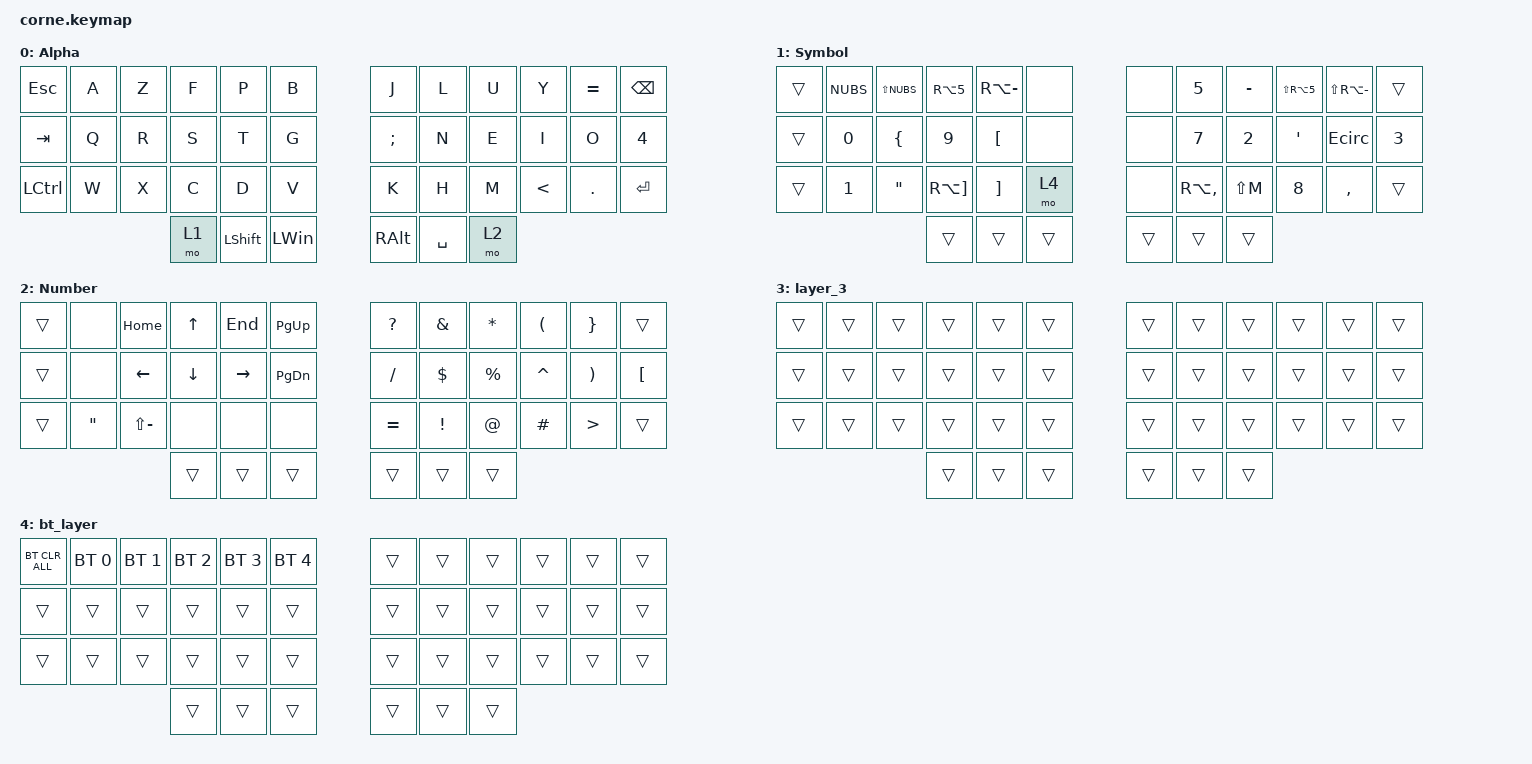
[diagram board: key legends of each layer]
/*
 * Copyright (c) 2020 The ZMK Contributors
 *
 * SPDX-License-Identifier: MIT
 */

#include <behaviors.dtsi>
#include <dt-bindings/zmk/bt.h>
#include <dt-bindings/zmk/keys.h>

/ {
    macros {
        Ecirc: Ecirc {
            compatible = "zmk,behavior-macro";
            #binding-cells = <0>;
            bindings = <&kp LEFT_BRACKET &kp E>;
            label = "ECIRC";
        };
    };

    keymap {
        compatible = "zmk,keymap";

        alpha_layer {
            // -----------------------------------------------------------------------------------------
            // |  TAB |  Q  |  W  |  E  |  R  |  T  |   |  Y  |  U   |  I  |  O  |  P  | BKSP |
            // | CTRL |  A  |  S  |  D  |  F  |  G  |   |  H  |  J   |  K  |  L  |  ;  |  '   |
            // | SHFT |  Z  |  X  |  C  |  V  |  B  |   |  N  |  M   |  ,  |  .  |  /  | ESC  |
            //                    | GUI | LWR | SPC |   | ENT | RSE  | ALT |

            display-name = "Alpha";
            bindings = <
&kp ESC           &kp A  &kp Z  &kp F  &kp P       &kp B       &kp J     &kp L      &kp U  &kp Y          &kp EQUAL  &kp BSPC
&kp TAB           &kp Q  &kp R  &kp S  &kp T       &kp G       &kp SEMI  &kp N      &kp E  &kp I          &kp O      &kp NUMBER_4
&kp LEFT_CONTROL  &kp W  &kp X  &kp C  &kp D       &kp V       &kp K     &kp H      &kp M  &kp LESS_THAN  &kp DOT    &kp ENTER
                                &mo 1  &kp LSHIFT  &kp LWIN    &kp RALT  &kp SPACE  &mo 2
            >;
        };

        symbol_layer {
            // -----------------------------------------------------------------------------------------
            // |  TAB |  1  |  2  |  3  |  4  |  5  |   |  6  |  7  |  8  |  9  |  0  | BKSP |
            // | BTCLR| BT1 | BT2 | BT3 | BT4 | BT5 |   | LFT | DWN |  UP | RGT |     |      |
            // | SHFT |     |     |     |     |     |   |     |     |     |     |     |      |
            //                    | GUI |     | SPC |   | ENT |     | ALT |

            display-name = "Symbol";
            bindings = <
&trans  &kp NUBS      &kp LS(NUBS)       &kp RA(N5)             &kp RA(MINUS)      &none     &none   &kp N5         &kp MINUS  &kp LS(RA(N5))  &kp LS(RA(MINUS))  &trans
&trans  &kp N0        &kp LEFT_BRACE     &kp N9                 &kp LEFT_BRACKET   &none     &none   &kp N7         &kp N2     &kp APOSTROPHE  &Ecirc             &kp N3
&trans  &kp NUMBER_1  &kp DOUBLE_QUOTES  &kp RA(RIGHT_BRACKET)  &kp RIGHT_BRACKET  &mo 4     &none   &kp RA(COMMA)  &kp LS(M)  &kp N8          &kp COMMA          &trans
                                         &trans                 &trans             &trans    &trans  &trans         &trans
            >;
        };

        number_layer {
            // -----------------------------------------------------------------------------------------
            // |  TAB |  !  |  @  |  #  |  $  |  %  |   |  ^  |  &  |  *  |  (  |  )  | BKSP |
            // | CTRL |     |     |     |     |     |   |  -  |  =  |  [  |  ]  |  \  |  `   |
            // | SHFT |     |     |     |     |     |   |  _  |  +  |  {  |  }  | "|" |  ~   |
            //                    | GUI |     | SPC |   | ENT |     | ALT |

            display-name = "Number";
            bindings = <
&trans  &none              &kp HOME       &kp UP_ARROW  &kp END    &kp PAGE_UP      &kp QUESTION  &kp AMPERSAND    &kp ASTERISK  &kp LPAR   &kp RIGHT_BRACE        &trans
&trans  &none              &kp LEFT       &kp DOWN      &kp RIGHT  &kp PAGE_DOWN    &kp SLASH     &kp DOLLAR       &kp PERCENT   &kp CARET  &kp RIGHT_PARENTHESIS  &kp LEFT_BRACKET
&trans  &kp DOUBLE_QUOTES  &kp LS(MINUS)  &none         &none      &none            &kp EQUAL     &kp EXCLAMATION  &kp AT_SIGN   &kp HASH   &kp GREATER_THAN       &trans
                                          &trans        &trans     &trans           &trans        &trans           &trans
            >;
        };

        layer_3 {
            bindings = <
&trans  &trans  &trans  &trans  &trans  &trans    &trans  &trans  &trans  &trans  &trans  &trans
&trans  &trans  &trans  &trans  &trans  &trans    &trans  &trans  &trans  &trans  &trans  &trans
&trans  &trans  &trans  &trans  &trans  &trans    &trans  &trans  &trans  &trans  &trans  &trans
                        &trans  &trans  &trans    &trans  &trans  &trans
            >;
        };

        bt_layer {
            bindings = <
&bt BT_CLR_ALL  &bt BT_SEL 0  &bt BT_SEL 1  &bt BT_SEL 2  &bt BT_SEL 3  &bt BT_SEL 4    &trans  &trans  &trans  &trans  &trans  &trans
&trans          &trans        &trans        &trans        &trans        &trans          &trans  &trans  &trans  &trans  &trans  &trans
&trans          &trans        &trans        &trans        &trans        &trans          &trans  &trans  &trans  &trans  &trans  &trans
                                            &trans        &trans        &trans          &trans  &trans  &trans
            >;
        };
    };

    conditional_layers {
        compatible = "zmk,conditional-layers";

        Layer1and2 {
            if-layers = <1 2>;
            then-layer = <3>;
        };
    };
};
